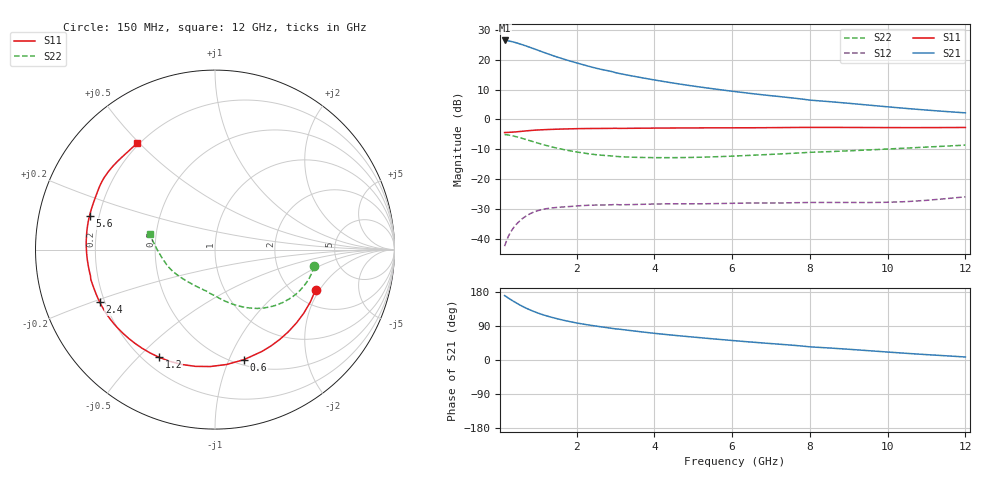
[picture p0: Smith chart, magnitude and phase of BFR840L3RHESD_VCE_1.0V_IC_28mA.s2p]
! Infineon Technologies  Discrete & RF Semiconductors
! BFR840L3RHESD
! VCE =  1.0 V,  IC =  28 mA
! Common Emitter S-Parameters:  Jun 2012
# GHz  S  MA  R  50
!  f  S11  S21  S12  S22
! GHz  MAG  ANG  MAG  ANG  MAG  ANG  MAG  ANG
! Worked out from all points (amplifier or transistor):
!   91 points, 150 MHz to 12 GHz, reference 50 ohm
!   highest |S21| = 26.4 dB at 150 MHz (marker M1)
!   |S21| within 3 dB of that: start of sweep to 950.3 MHz
!   unconditionally stable (mu >= 1): start of sweep to 264 MHz; 3.08 GHz to end of sweep
!   at 1.3 GHz: K = 0.57, MSG = 25.7 dB, |S12| = -29.7 dB
!   at 4.3 GHz: K = 1.33, MAG = 17.0 dB, |S12| = -28.2 dB
!   at 12 GHz: K = 3.18, MAG = 6.1 dB, |S12| = -25.9 dB
!   S11 on the Smith chart (normalised r, x): 150 MHz: 2.60, -1.84; 600 MHz: 0.55, -1.14; 1.2 GHz: 0.26, -0.58; 2.4 GHz: 0.18, -0.21; 5.6 GHz: 0.16, +0.13; 12 GHz: 0.19, +0.49
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0.15  0.6037 -21.9  20.94 170.1  0.0076 57.0  0.5599 -9.5
0.25  0.6083 -35.5  20.55 163.2  0.0112 60.6  0.549 -16.7
0.35  0.6136 -48.2  19.9 156.7  0.0145 58.1  0.533 -23.1
0.5  0.6248 -65.2  18.69 147.6  0.019 52.5  0.5038 -31.9
0.6  0.634 -75.2  17.83 142.1  0.0218 49.0  0.4829 -37.1
0.7  0.6433 -84.2  16.95 137.0  0.0242 46.0  0.462 -42.0
0.8  0.652 -92.3  16.08 132.3  0.0264 43.4  0.4416 -46.4
0.9  0.6597 -99.6  15.24 128.1  0.0283 41.3  0.422 -50.5
1.1  0.6715 -112.0  13.65 120.6  0.031 37.6  0.3864 -57.7
1.2  0.6761 -117.4  12.93 117.4  0.032 35.9  0.3705 -60.9
1.4  0.6836 -126.6  11.64 111.6  0.0333 32.9  0.3428 -66.7
1.7  0.693 -137.6  10.07 104.1  0.0346 28.8  0.3105 -74.2
1.9  0.6984 -143.6  9.225 99.8  0.0353 26.8  0.2937 -78.6
2.2  0.7039 -151.2  8.123 94.2  0.0364 25.0  0.2732 -84.5
2.4  0.7059 -155.7  7.486 91.0  0.0369 24.4  0.2622 -88.2
3  0.7116 -166.5  6.068 82.2  0.0379 21.3  0.2417 -98.1
4.2  0.7176 178.2  4.354 68.3  0.0387 20.6  0.2295 -116.0
5.6  0.724 164.9  3.201 55.0  0.0392 22.3  0.238 -134.5
6.1  0.7251 160.8  2.913 50.6  0.0397 22.6  0.245 -140.5
8.5  0.736 143.9  1.986 31.7  0.0409 25.6  0.2896 -166.9
10.5  0.7301 132.8  1.524 17.5  0.0423 34.6  0.3324 176.8
12  0.7343 126.3  1.289 7.9  0.0508 39.9  0.372 166.9
